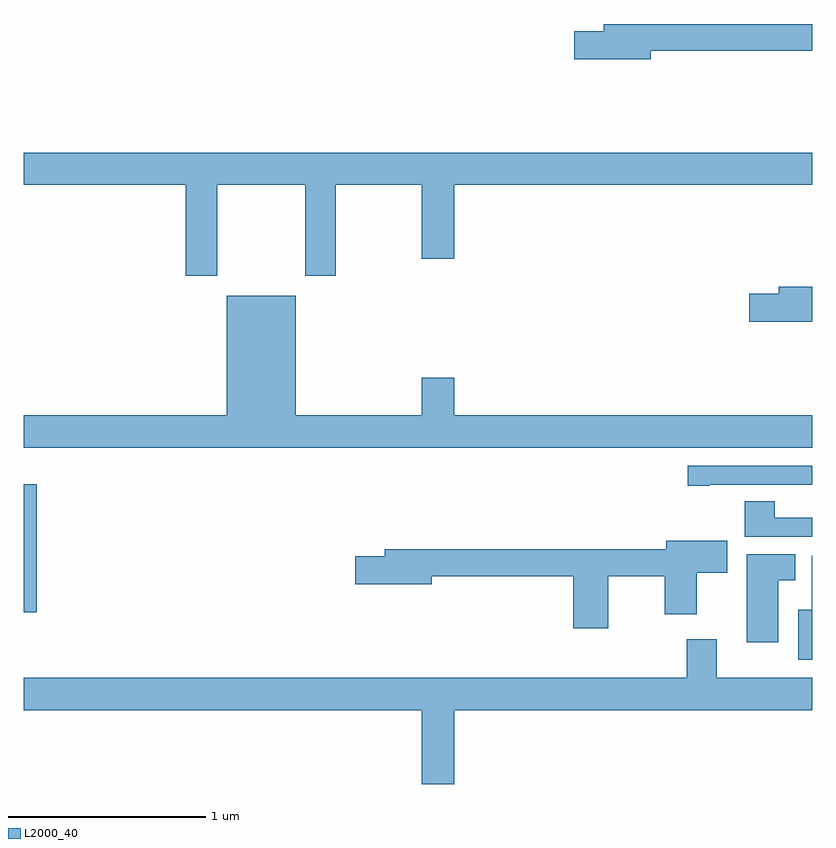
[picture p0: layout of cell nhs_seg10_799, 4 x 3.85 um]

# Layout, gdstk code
import gdstk
lib = gdstk.Library(unit=1e-6, precision=1e-09)
def R(c, l, rs):  # rectangles x0, y0, x1, y1
    for r in rs: c.add(gdstk.rectangle(r[:2], r[2:], *l))
def P(c, l, *ps):  # polygons
    for p in ps: c.add(gdstk.Polygon(p, *l))
L2000_40 = (2000, 40)

nhs_seg10_799 = lib.new_cell('nhs_seg10_799')
R(nhs_seg10_799, L2000_40, [(151,1279.5,151.067,1280.149)])
P(nhs_seg10_799, L2000_40, [(154.18,1282.348),(155,1282.348),(155,1282.484),(153.941,1282.484),(153.941,1282.448),(153.792,1282.448),(153.792,1282.306),(154.18,1282.306)],
  [(151.983,1281.668),(152.428,1281.668),(152.428,1281.207),(152.583,1281.207),(152.583,1281.668),(153.02,1281.668),(153.02,1281.294),(153.184,1281.294),(153.184,1281.668),(155,1281.668),(155,1281.832),(151,1281.832),(151,1281.668),(151.823,1281.668),(151.823,1281.207),(151.983,1281.207)],
  [(155,1281.152),(154.829,1281.152),(154.829,1281.116),(154.68,1281.116),(154.68,1280.974),(155,1280.974)],
  [(155,1280.5),(153.184,1280.5),(153.184,1280.689),(153.02,1280.689),(153.02,1280.5),(152.38,1280.5),(152.38,1281.106),(152.03,1281.106),(152.03,1280.5),(151,1280.5),(151,1280.336),(155,1280.336)],
  [(154.48,1280.148),(155,1280.148),(155,1280.244),(154.368,1280.244),(154.368,1280.143),(154.48,1280.143)],
  [(155,1279.98),(154.81,1279.98),(154.81,1280.063),(154.658,1280.063),(154.658,1279.884),(155,1279.884)],
  [(153.966,1279.684),(154.252,1279.684),(154.252,1279.491),(154.414,1279.491),(154.414,1279.702),(154.567,1279.702),(154.567,1279.864),(154.259,1279.864),(154.259,1279.82),(152.831,1279.82),(152.831,1279.784),(152.682,1279.784),(152.682,1279.642),(153.07,1279.642),(153.07,1279.684),(153.788,1279.684),(153.788,1279.419),(153.966,1279.419)],
  [(154.828,1279.664),(154.912,1279.664),(154.912,1279.795),(154.667,1279.795),(154.667,1279.35),(154.828,1279.35)],
  [(155,1279.787),(154.997,1279.787),(154.997,1279.513),(154.928,1279.513),(154.928,1279.259),(155,1279.259)],
  [(153.184,1279.004),(155,1279.004),(155,1279.168),(154.516,1279.168),(154.516,1279.363),(154.364,1279.363),(154.364,1279.168),(151,1279.168),(151,1279.004),(153.02,1279.004),(153.02,1278.63),(153.184,1278.63)])

lib.write_gds('nhs_seg10_799.gds')
